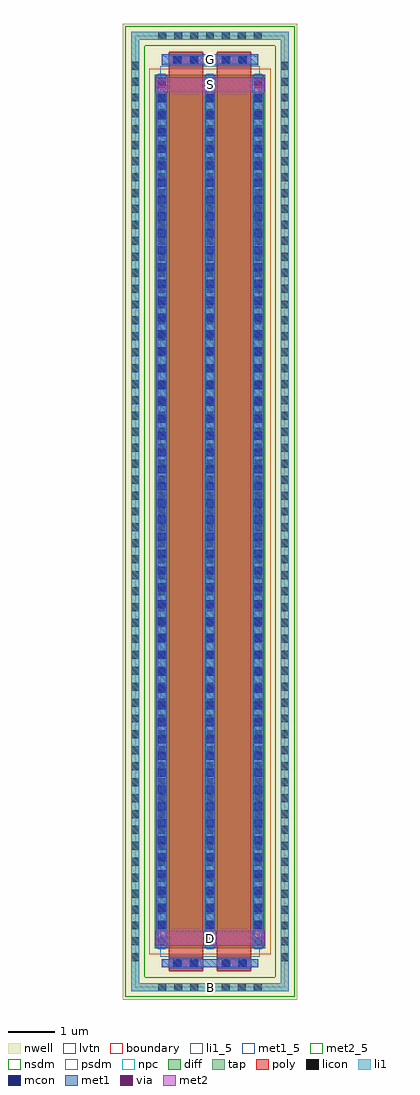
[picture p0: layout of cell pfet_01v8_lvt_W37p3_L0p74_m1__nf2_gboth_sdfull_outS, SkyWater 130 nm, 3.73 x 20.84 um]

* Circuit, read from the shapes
.subckt pfet_01v8_lvt_W37p3_L0p74_m1__nf2_gboth_sdfull_outS B D G S
XM1 D G S B sky130_fd_pr__pfet_01v8_lvt w=18.65 l=0.74 m=2
.ends

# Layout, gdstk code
import gdstk
lib = gdstk.Library(unit=1e-6, precision=1e-09)
def R(c, l, rs):  # rectangles x0, y0, x1, y1
    for r in rs: c.add(gdstk.rectangle(r[:2], r[2:], *l))
def A(c, l, x, y, w, h, nx, ny, dx, dy):  # array of equal rectangles
    R(c, l, [(x+i*dx, y+j*dy, x+i*dx+w, y+j*dy+h) for i in range(nx) for j in range(ny)])
nwell = (64, 20)
diff = (65, 20)
tap = (65, 44)
poly = (66, 20)
licon = (66, 44)
li1_5 = (67, 5)
li1 = (67, 20)
mcon = (67, 44)
met1_5 = (68, 5)
met1 = (68, 20)
via = (68, 44)
met2_5 = (69, 5)
met2 = (69, 20)
nsdm = (93, 44)
psdm = (94, 20)
npc = (95, 20)
lvtn = (125, 44)
boundary = (235, 4)

sky130_fd_pr__pfet_01v8_ = lib.new_cell('sky130_fd_pr__pfet_01v8_lvt_W6MC9C')
R(sky130_fd_pr__pfet_01v8_, nwell, [(-1.865,-10.42,1.865,10.42)])
R(sky130_fd_pr__pfet_01v8_, diff, [(-1.175,-9.325,1.175,9.325)])
R(sky130_fd_pr__pfet_01v8_, tap, [(-1.685,-10.24,1.685,-10.07), (-1.685,-10.07,-1.515,10.07), (1.515,-10.07,1.685,10.07), (-1.685,10.07,1.685,10.24)])
R(sky130_fd_pr__pfet_01v8_, poly, [(-0.885,-9.81,-0.145,9.81), (0.145,-9.81,0.885,9.81)])
A(sky130_fd_pr__pfet_01v8_, licon, -1.105, -10.24, 0.17, 0.17, 7, 2, 0.34, 20.31)
A(sky130_fd_pr__pfet_01v8_, licon, -1.685, -9.605, 0.17, 0.17, 1, 57, 0, 0.34)
A(sky130_fd_pr__pfet_01v8_, licon, 1.515, -9.605, 0.17, 0.17, 1, 57, 0, 0.34)
A(sky130_fd_pr__pfet_01v8_, licon, -1.115, -9.265, 0.17, 0.17, 3, 55, 1.03, 0.34)
R(sky130_fd_pr__pfet_01v8_, licon, [(-0.77,-9.73,-0.6,-9.56), (-0.43,-9.73,-0.26,-9.56), (0.26,-9.73,0.43,-9.56), (0.6,-9.73,0.77,-9.56), (-0.77,9.56,-0.6,9.73), (-0.43,9.56,-0.26,9.73), (0.26,9.56,0.43,9.73), (0.6,9.56,0.77,9.73)])
A(sky130_fd_pr__pfet_01v8_, li1, -1.115, -9.345, 0.17, 18.69, 3, 1, 1.03, 0)
R(sky130_fd_pr__pfet_01v8_, li1, [(-1.685,-10.24,1.685,-10.07), (-1.685,-10.07,-1.515,10.07), (1.515,-10.07,1.685,10.07), (-1.03,-9.73,1.03,-9.56), (-1.03,9.56,1.03,9.73), (-1.685,10.07,1.685,10.24)])
A(sky130_fd_pr__pfet_01v8_, mcon, -1.115, -9.265, 0.17, 0.17, 3, 52, 1.03, 0.36)
R(sky130_fd_pr__pfet_01v8_, mcon, [(-0.78,-9.73,-0.61,-9.56), (-0.42,-9.73,-0.25,-9.56), (0.25,-9.73,0.42,-9.56), (0.61,-9.73,0.78,-9.56), (-0.78,9.56,-0.61,9.73), (-0.42,9.56,-0.25,9.73), (0.25,9.56,0.42,9.73), (0.61,9.56,0.78,9.73)])
A(sky130_fd_pr__pfet_01v8_, met1, -1.145, -9.325, 0.23, 18.65, 3, 1, 1.03, 0)
R(sky130_fd_pr__pfet_01v8_, met1, [(-0.865,-9.76,-0.165,-9.73), (0.165,-9.76,0.865,-9.73), (-1.03,-9.73,1.03,-9.56), (-0.865,-9.56,-0.165,-9.53), (0.165,-9.56,0.865,-9.53), (-0.865,9.53,-0.165,9.56), (0.165,9.53,0.865,9.56), (-1.03,9.56,1.03,9.73), (-0.865,9.73,-0.165,9.76), (0.165,9.73,0.865,9.76)])
R(sky130_fd_pr__pfet_01v8_, nsdm, [(-1.81,-10.365,1.81,-9.945), (-1.81,-9.945,-1.39,9.945), (1.39,-9.945,1.81,9.945), (-1.81,9.945,1.81,10.365)])
R(sky130_fd_pr__pfet_01v8_, psdm, [(-1.3,-9.45,1.3,9.45)])
R(sky130_fd_pr__pfet_01v8_, npc, [(-0.87,-9.83,-0.16,-9.46), (0.16,-9.83,0.87,-9.46), (-0.87,9.46,-0.16,9.83), (0.16,9.46,0.87,9.83)])
R(sky130_fd_pr__pfet_01v8_, lvtn, [(-1.065,-9.505,1.065,9.505)])
R(sky130_fd_pr__pfet_01v8_, boundary, [(-1.6,-10.155,1.6,10.155)])
sky130_fd_pr__pfet_01v8_.add(gdstk.Label('B', (0,-10.155), layer=67, texttype=5))
sky130_fd_pr__pfet_01v8_.add(gdstk.Label('D0', (-1.03,0), layer=67, texttype=5))
sky130_fd_pr__pfet_01v8_.add(gdstk.Label('G', (0.515,9.645), layer=67, texttype=5))
sky130_fd_pr__pfet_01v8_.add(gdstk.Label('G', (-0.515,9.645), layer=67, texttype=5))
sky130_fd_pr__pfet_01v8_.add(gdstk.Label('S1', (0,0), layer=67, texttype=5))

pfet_01v8_lvt_w37p3_l0p7 = lib.new_cell('pfet_01v8_lvt_W37p3_L0p74_m1__nf2_gboth_sdfull_outS')
R(pfet_01v8_lvt_w37p3_l0p7, li1_5, [(1.515,-0.085,1.685,0.085)])
R(pfet_01v8_lvt_w37p3_l0p7, li1, [(1.515,-0.085,1.685,0.085)])
R(pfet_01v8_lvt_w37p3_l0p7, met1_5, [(0.57,19.685,2.63,19.915)])
R(pfet_01v8_lvt_w37p3_l0p7, met1, [(1.47,0.88,1.73,1.2), (0.44,19.11,0.7,19.43), (2.5,19.11,2.76,19.43), (0.57,19.685,2.63,19.915)])
R(pfet_01v8_lvt_w37p3_l0p7, via, [(1.525,0.965,1.675,1.115), (0.495,19.195,0.645,19.345), (2.555,19.195,2.705,19.345)])
R(pfet_01v8_lvt_w37p3_l0p7, met2_5, [(0.435,0.88,2.765,1.2), (0.435,19.11,2.765,19.43)])
R(pfet_01v8_lvt_w37p3_l0p7, met2, [(0.435,0.88,2.765,1.2), (0.435,19.11,2.765,19.43)])
pfet_01v8_lvt_w37p3_l0p7.add(gdstk.Reference(sky130_fd_pr__pfet_01v8_, (1.6,10.155)))
pfet_01v8_lvt_w37p3_l0p7.add(gdstk.Label('S', (1.6,19.27), layer=69, texttype=5))
pfet_01v8_lvt_w37p3_l0p7.add(gdstk.Label('D', (1.6,1.04), layer=69, texttype=5))
pfet_01v8_lvt_w37p3_l0p7.add(gdstk.Label('G', (1.6,19.8), layer=68, texttype=5))
pfet_01v8_lvt_w37p3_l0p7.add(gdstk.Label('B', (1.6,0), layer=67, texttype=5))

lib.write_gds('pfet_01v8_lvt_W37p3_L0p74_m1__nf2_gboth_sdfull_outS.gds')
